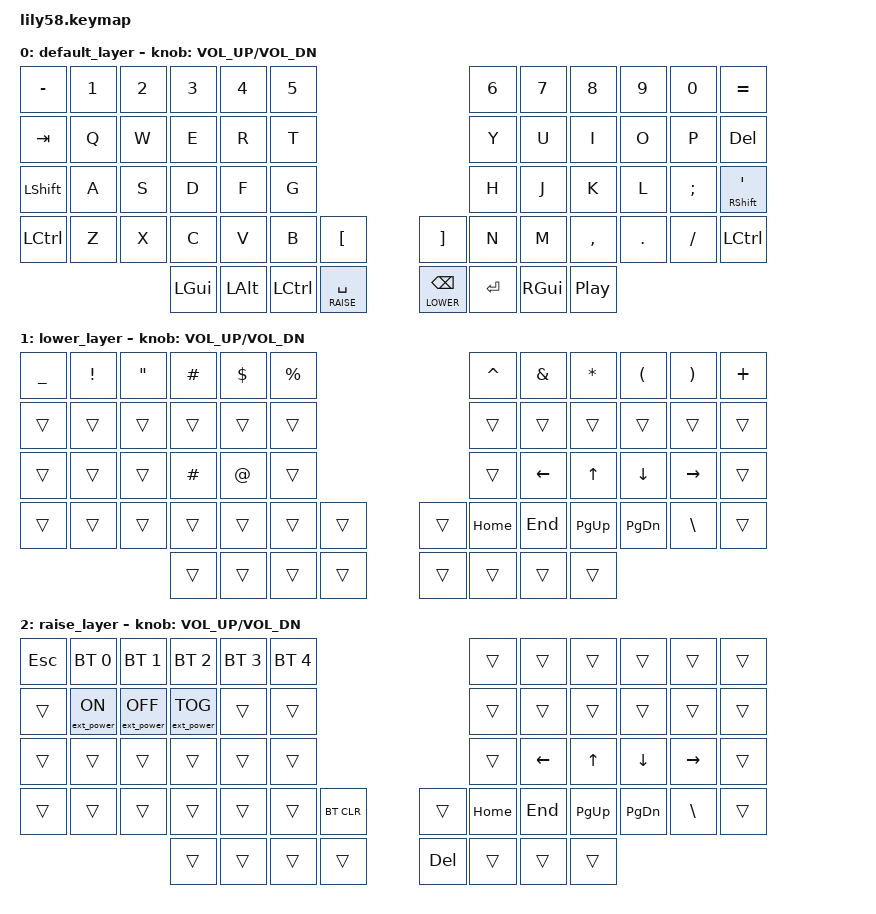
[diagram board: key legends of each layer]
/*
 * Copyright (c) 2020 The ZMK Contributors
 *
 * SPDX-License-Identifier: MIT
 */

#include <behaviors.dtsi>
#include <dt-bindings/zmk/keys.h>
#include <dt-bindings/zmk/bt.h>
#include <dt-bindings/zmk/ext_power.h>

#define DEFAULT 0
#define LOWER   1
#define RAISE   2

/ {
    keymap {
        compatible = "zmk,keymap";

        default_layer {
// ------------------------------------------------------------------------------------------------------------
// |  -    |  1  |  2  |  3   |  4   |  5   |                             |  6   |  7    |  8    |  9   |   0   |   =   |
// |  TAB  |  Q  |  W  |  E   |  R   |  T   |                             |  Y   |  U    |  I    |  O   |   P   |   -   |
// | SHIFT |  A  |  S  |  D   |  F   |  G   |                             |  H   |  J    |  K    |  L   |   ;   |   ' / shift  |
// | CTRL  |  Z  |  X  |  C   |  V   |  B   |   "["  |            |  "]"  |  N   |  M    |  ,    |  .   |   /   | SHIFT |
//                     | TRANS| ALT  | CTRL | RAISE/SPACE |  | LOWER/BSPC | ENTER| GUI   | TRANS |
            bindings = <
&kp MINUS   &kp N1 &kp N2 &kp N3   &kp N4   &kp N5                                          &kp N6     &kp N7    &kp N8     &kp N9   &kp N0    &kp EQUAL
&kp TAB     &kp Q  &kp W  &kp E    &kp R    &kp T                                           &kp Y      &kp U     &kp I      &kp O    &kp P     &kp DEL
&kp LSHFT   &kp A  &kp S  &kp D    &kp F    &kp G                                           &kp H      &kp J     &kp K      &kp L    &kp SEMI  &mt RSHIFT SQT
&kp LCTL    &kp Z  &kp X  &kp C    &kp V    &kp B      &kp LBKT             &kp RBKT        &kp N      &kp M     &kp COMMA  &kp DOT  &kp FSLH  &kp LCTL
                          &kp LGUI &kp LALT &kp LCTRL  &lt RAISE SPACE      &lt LOWER BSPC  &kp ENTER  &kp RGUI  &kp C_PP
            >;

            sensor-bindings = <&inc_dec_kp C_VOL_UP C_VOL_DN>;
        };

        lower_layer {
// ---------ALLLL WRONG---------------------------------------------------------------------------------------------------
// | BTCLR | BT1 | BT2 |  BT3 |  BT4 |  BT5 |                   |      |       |       |      |       |       |
// |       |   1 |  2  |   3  |   4  |   5  |                   |   6  |   7   |   8   |   9  |   0   |       |
// |       |  -  |  =  |  #   |      |      |                   |      | LEFT  | UP    | DOWN | RIGHT |       |
// |       |     |     |      |      |      |        |  |       | HOME | END   | PGUP  | PGDN |   \   |       |
//                     |      |      |      |        |  |       |      |       |       |
            bindings = <
&kp UNDER  &kp EXCL          &kp DQT           &kp POUND         &kp DLLR     &kp PRCNT                    &kp CARET &kp AMPS  &kp STAR    &kp LPAR     &kp RPAR  &kp PLUS
&trans     &trans            &trans            &trans            &trans       &trans                       &trans    &trans      &trans     &trans      &trans    &trans
&trans     &trans            &trans            &kp HASH          &kp AT       &trans                       &trans    &kp LEFT  &kp UP      &kp DOWN     &kp RIGHT &trans
&trans     &trans            &trans            &trans            &trans       &trans    &trans   &trans    &kp HOME  &kp END   &kp PG_UP   &kp PG_DN    &kp BSLH  &trans 
                                               &trans            &trans       &trans    &trans   &trans    &trans    &trans    &trans
            >;

            sensor-bindings = <&inc_dec_kp C_VOL_UP C_VOL_DN>;
        };

        raise_layer {
// -----------all totally wrong labels here, fwiw-------------------------------------------------------------------------------------------------
// |       |     |     |      |      |      |                   |      |       |       |      |       |       |
// |   `   |  1  |  2  |  3   |  4   |  5   |                   |  6   |   7   |   8   |  9   |   0   |       |
// |   F1  |  F2 |  F3 |  F4  |  F5  |  F6  |                   |      |   <-  |   v   |  ^   |  ->   |       |
// |   F7  |  F8 |  F9 |  F10 |  F11 |  F12 |        |  |       |  +   |   -   |   =   |  [   |   ]   |   \   |
//                     |      |      |      |        |  |       |      |       |       |
            bindings = <
&kp ESC     &bt BT_SEL 0      &bt BT_SEL 1       &bt BT_SEL 2       &bt BT_SEL 3  &bt BT_SEL 4                      &trans      &trans    &trans     &trans      &trans     &trans
&trans      &ext_power EP_ON  &ext_power EP_OFF  &ext_power EP_TOG  &trans        &trans                            &trans      &trans    &trans     &trans     &trans      &trans
&trans      &trans            &trans             &trans             &trans        &trans                            &trans      &kp LEFT  &kp UP     &kp DOWN   &kp RIGHT   &trans
&trans      &trans            &trans             &trans             &trans        &trans    &bt BT_CLR    &trans    &kp HOME    &kp END   &kp PG_UP  &kp PG_DN  &kp BSLH    &trans 
                                                                  &trans  &trans  &trans    &trans        &kp DEL   &trans      &trans    &trans
            >;

            sensor-bindings = <&inc_dec_kp C_VOL_UP C_VOL_DN>;
        };
    };
};
